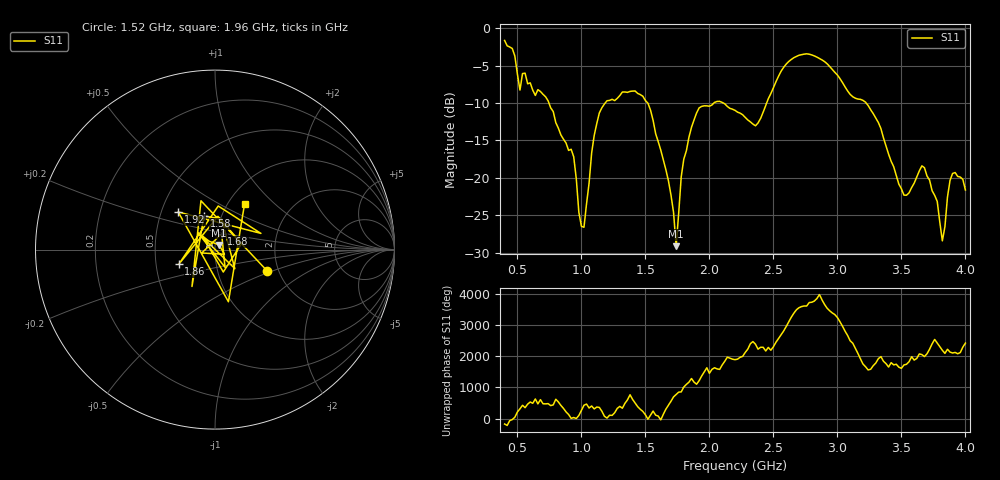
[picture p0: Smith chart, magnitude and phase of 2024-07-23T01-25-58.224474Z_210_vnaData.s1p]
!Created with skrf (http://scikit-rf.org).
# Hz S RI R 50.0
!freq ReS11 ImS11
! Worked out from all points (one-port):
!   181 points, 400 MHz to 4 GHz, reference 50 ohm
!   lowest |S11| = -29.1 dB at 1.74 GHz (marker M1), VSWR 1.07, Z = 52.3 + j2.71 ohm
!   |S11| at or under -10 dB: 746 MHz to 1.186 GHz (440.4 MHz wide, 45.6 % of centre); 1.517 GHz to 2.036 GHz (518.5 MHz wide, 29.2 % of centre); 3.224 GHz to end of sweep (the widest 3 of 4)
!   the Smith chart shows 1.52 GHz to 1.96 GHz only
!   S11 on the Smith chart (normalised r, x): 1.52 GHz: 1.74, -0.46; 1.58 GHz: 0.83, +0.32; 1.68 GHz: 1.06, +0.19; 1.86 GHz: 0.66, -0.11; 1.92 GHz: 0.61, +0.28; 1.96 GHz: 1.19, +0.67
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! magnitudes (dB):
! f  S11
! 400 MHz  -1.6
! 520 MHz  -8.3
! 560 MHz  -6.0
! 860 MHz  -14.8
! 940 MHz  -17.2
! 980 MHz  -24.6
! 1.02 GHz  -26.6
! 1.14 GHz  -11.3
! 1.3 GHz  -9.0
! 1.52 GHz  -10.0
! 1.58 GHz  -14.1
! 1.68 GHz  -20.4
! 1.74 GHz  -29.1
! 1.76 GHz  -24.8
! 1.8 GHz  -17.5
! 1.86 GHz  -13.3
! 1.92 GHz  -10.7
! 1.96 GHz  -10.4
! 2.2 GHz  -11.0
! 2.36 GHz  -13.1
! 2.66 GHz  -3.9
! 3.1 GHz  -8.9
! 3.28 GHz  -11.4
! 3.56 GHz  -22.0
! 3.68 GHz  -18.7
! 3.82 GHz  -28.4
! 3.9 GHz  -19.4
! 4 GHz  -21.6
